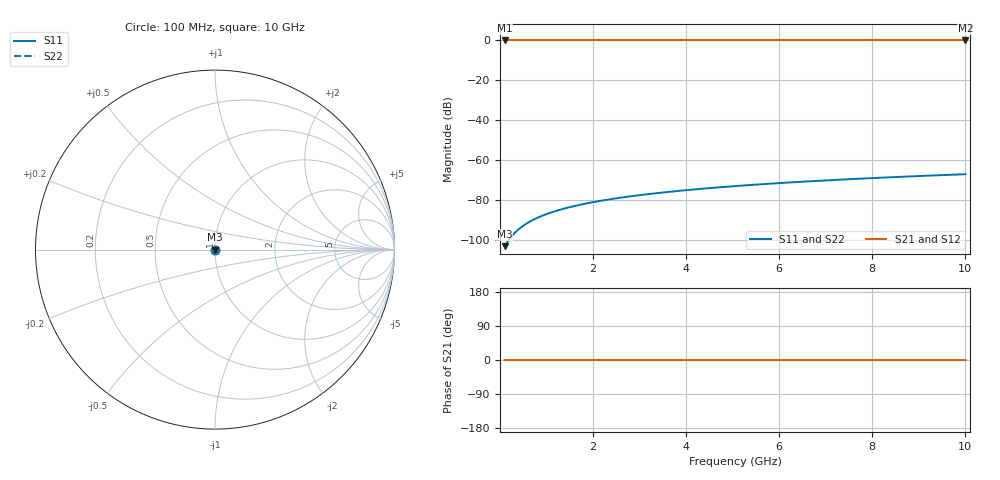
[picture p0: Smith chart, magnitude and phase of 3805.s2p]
# Hz S RI R 50.00
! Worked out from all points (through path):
!   100 points, 100 MHz to 10 GHz, reference 50 ohm
!   highest |S21| = 0.00 dB at 100 MHz (marker M1); lowest = 0.0 dB at 10 GHz (marker M2)
!   lowest |S11| = -103.3 dB at 100 MHz (marker M3), VSWR 1.00, Z = 50 - j0.000433 ohm
!   |S11| at or under -10 dB: start of sweep to end of sweep
!   |S22| runs from -103.3 to -67.2 dB; largest |S21 - S12| = 0
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1e8  5.29e-06 -4.33e-06  1 -2.33e-05  1 -2.33e-05  5.29e-06 -4.33e-06
1.8e9  5.31e-06 -7.81e-05  1 -0.00042  1 -0.00042  5.31e-06 -7.81e-05
2.3e9  5.27e-06 -9.98e-05  1 -0.000537  1 -0.000537  5.27e-06 -9.98e-05
2.5e9  5.25e-06 -0.000109  1 -0.000584  1 -0.000584  5.25e-06 -0.000109
2.8e9  5.22e-06 -0.000122  1 -0.000654  1 -0.000654  5.22e-06 -0.000122
3.1e9  5.19e-06 -0.000135  1 -0.000724  1 -0.000724  5.19e-06 -0.000135
3.4e9  5.15e-06 -0.000148  1 -0.000794  1 -0.000794  5.15e-06 -0.000148
3.6e9  5.13e-06 -0.000157  1 -0.000841  1 -0.000841  5.13e-06 -0.000157
3.8e9  5.1e-06 -0.000165  1 -0.000888  1 -0.000888  5.1e-06 -0.000165
4.2e9  5.05e-06 -0.000183  1 -0.000981  1 -0.000981  5.05e-06 -0.000183
4.6e9  4.99e-06 -0.0002  1 -0.00108  1 -0.00108  4.99e-06 -0.0002
5.1e9  4.91e-06 -0.000222  1 -0.00119  1 -0.00119  4.91e-06 -0.000222
5.5e9  4.85e-06 -0.00024  1 -0.00129  1 -0.00129  4.85e-06 -0.00024
5.9e9  4.78e-06 -0.000257  1 -0.00138  1 -0.00138  4.78e-06 -0.000257
6.3e9  4.7e-06 -0.000275  1 -0.00147  1 -0.00147  4.7e-06 -0.000275
6.7e9  4.63e-06 -0.000293  1 -0.00157  1 -0.00157  4.63e-06 -0.000293
7.1e9  4.55e-06 -0.00031  1 -0.00166  1 -0.00166  4.55e-06 -0.00031
7.5e9  4.47e-06 -0.000328  1 -0.00176  1 -0.00176  4.47e-06 -0.000328
7.9e9  4.38e-06 -0.000345  1 -0.00185  1 -0.00185  4.38e-06 -0.000345
8.4e9  4.27e-06 -0.000368  1 -0.00197  1 -0.00197  4.27e-06 -0.000368
9.2e9  4.08e-06 -0.000403  1 -0.00216  1 -0.00216  4.08e-06 -0.000403
1e10  3.87e-06 -0.000438  1 -0.00235  1 -0.00235  3.87e-06 -0.000438
